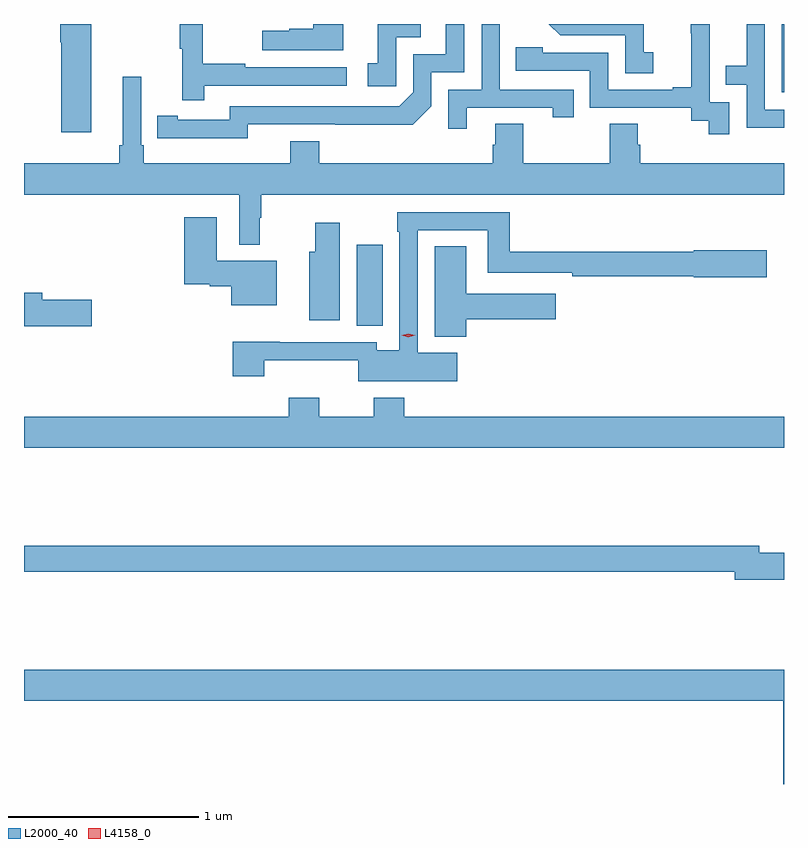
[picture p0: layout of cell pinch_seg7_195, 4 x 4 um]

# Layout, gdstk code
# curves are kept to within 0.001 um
import gdstk
lib = gdstk.Library(unit=1e-6, precision=1e-09)
def R(c, l, rs):  # rectangles x0, y0, x1, y1
    for r in rs: c.add(gdstk.rectangle(r[:2], r[2:], *l))
def P(c, l, *ps):  # polygons
    for p in ps: c.add(gdstk.Polygon(p, *l))
L2000_40 = (2000, 40)
L4158_0 = (4158, 0)

pinch_seg7_195 = lib.new_cell('pinch_seg7_195')
R(pinch_seg7_195, L2000_40, [(748.766,1065.193,748.903,1065.619), (751.005,1066.422,751.016,1066.782)])
P(pinch_seg7_195, L2000_40, [(751.016,1066.332),(750.915,1066.332),(750.915,1066.782),(750.819,1066.782),(750.819,1066.562),(750.709,1066.562),(750.709,1066.461),(750.819,1066.461),(750.819,1066.236),(751.016,1066.236)],
  [(748.974,1066.713),(749.103,1066.713),(749.103,1066.782),(748.877,1066.782),(748.877,1066.575),(748.824,1066.575),(748.824,1066.455),(748.974,1066.455)],
  [(747.965,1066.458),(748.714,1066.458),(748.714,1066.554),(748.181,1066.554),(748.181,1066.574),(747.958,1066.574),(747.958,1066.782),(747.837,1066.782),(747.837,1066.651),(747.848,1066.651),(747.848,1066.38),(747.965,1066.38)],
  [(747.37,1066.782),(747.206,1066.782),(747.206,1066.686),(747.212,1066.686),(747.212,1066.212),(747.37,1066.212)],
  [(748.696,1066.782),(748.538,1066.782),(748.538,1066.757),(748.412,1066.757),(748.412,1066.747),(748.269,1066.747),(748.269,1066.643),(748.696,1066.643)],
  [(748.194,1066.254),(749.062,1066.253),(749.16,1066.35),(749.16,1066.527),(749.334,1066.527),(749.334,1066.782),(749.237,1066.782),(749.237,1066.623),(749.064,1066.623),(749.064,1066.422),(748.992,1066.35),(748.098,1066.35),(748.098,1066.278),(747.826,1066.278),(747.826,1066.298),(747.718,1066.298),(747.718,1066.182),(748.194,1066.181)],
  [(750.729,1066.371),(750.624,1066.371),(750.624,1066.601),(750.626,1066.601),(750.626,1066.782),(750.526,1066.782),(750.526,1066.733),(750.527,1066.733),(750.527,1066.45),(750.431,1066.45),(750.431,1066.437),(750.09,1066.437),(750.09,1066.632),(749.745,1066.632),(749.745,1066.659),(749.605,1066.659),(749.605,1066.536),(749.994,1066.536),(749.994,1066.341),(750.528,1066.341),(750.528,1066.273),(750.621,1066.273),(750.621,1066.203),(750.729,1066.203)],
  [(749.347,1066.341),(749.798,1066.341),(749.798,1066.29),(749.909,1066.29),(749.909,1066.437),(749.52,1066.437),(749.52,1066.782),(749.424,1066.782),(749.424,1066.437),(749.25,1066.437),(749.25,1066.23),(749.347,1066.23)],
  [(750.328,1066.633),(750.279,1066.633),(750.279,1066.782),(749.778,1066.782),(749.838,1066.722),(750.18,1066.722),(750.18,1066.524),(750.328,1066.524)],
  [(748.258,1065.761),(748.265,1065.761),(748.265,1065.884),(751.016,1065.884),(751.016,1066.048),(750.26,1066.048),(750.26,1066.146),(750.247,1066.146),(750.247,1066.256),(750.1,1066.256),(750.1,1066.048),(749.643,1066.048),(749.643,1066.256),(749.495,1066.256),(749.495,1066.146),(749.483,1066.146),(749.483,1066.048),(748.571,1066.048),(748.571,1066.165),(748.418,1066.165),(748.418,1066.048),(747.647,1066.048),(747.647,1066.144),(747.633,1066.144),(747.633,1066.504),(747.536,1066.504),(747.536,1066.144),(747.517,1066.144),(747.517,1066.048),(747.016,1066.048),(747.016,1065.884),(748.149,1065.884),(748.149,1065.621),(748.258,1065.621)],
  [(749.296,1065.052),(749.088,1065.052),(749.088,1065.696),(749.457,1065.696),(749.457,1065.474),(749.902,1065.474),(749.902,1065.454),(750.54,1065.454),(750.54,1065.449),(750.925,1065.449),(750.925,1065.591),(750.54,1065.591),(750.54,1065.583),(749.573,1065.583),(749.573,1065.792),(748.98,1065.792),(748.98,1065.689),(748.992,1065.689),(748.992,1065.064),(748.872,1065.064),(748.872,1065.108),(748.363,1065.108),(748.363,1065.11),(748.115,1065.11),(748.115,1064.928),(748.28,1064.928),(748.28,1065.011),(748.776,1065.011),(748.776,1064.903),(749.296,1064.903)],
  [(748.345,1065.535),(748.03,1065.535),(748.03,1065.766),(747.86,1065.766),(747.86,1065.413),(747.993,1065.413),(747.993,1065.401),(748.106,1065.401),(748.106,1065.302),(748.345,1065.302)],
  [(748.678,1065.736),(748.549,1065.736),(748.549,1065.583),(748.517,1065.583),(748.517,1065.222),(748.678,1065.222)],
  [(749.344,1065.227),(749.815,1065.227),(749.815,1065.361),(749.344,1065.361),(749.344,1065.611),(749.177,1065.611),(749.177,1065.137),(749.344,1065.137)],
  [(747.373,1065.332),(747.112,1065.332),(747.112,1065.368),(747.016,1065.368),(747.016,1065.19),(747.373,1065.19)],
  [(751.016,1064.716),(749.018,1064.716),(749.018,1064.815),(748.858,1064.815),(748.858,1064.716),(748.569,1064.716),(748.569,1064.815),(748.409,1064.815),(748.409,1064.716),(747.016,1064.716),(747.016,1064.552),(751.016,1064.552)],
  [(751.016,1064),(750.886,1064),(750.886,1064.036),(747.016,1064.036),(747.016,1063.9),(750.758,1063.9),(750.758,1063.858),(751.016,1063.858)],
  [(751.016,1063.384),(747.016,1063.384),(747.016,1063.22),(751.013,1063.22),(751.013,1062.782),(751.016,1062.782)])
P(pinch_seg7_195, L4158_0, [(749.039,1065.133),(749.005,1065.143),(749.004,1065.143),(749.005,1065.143),(749.039,1065.153),(749.074,1065.143),(749.074,1065.143),(749.074,1065.143)])

lib.write_gds('pinch_seg7_195.gds')
